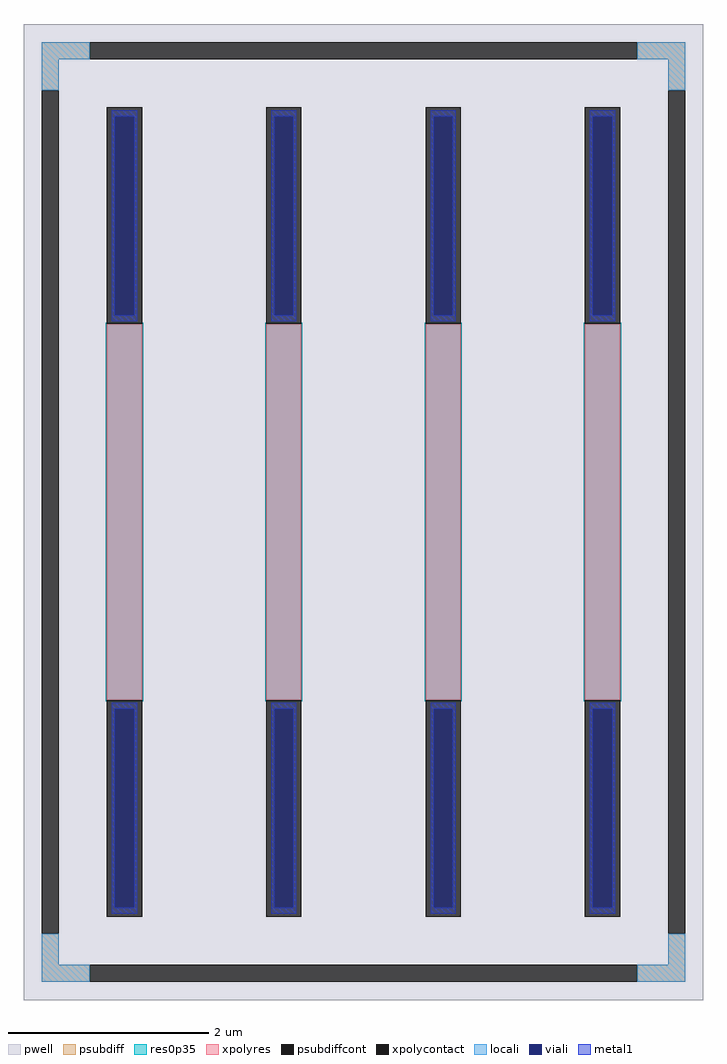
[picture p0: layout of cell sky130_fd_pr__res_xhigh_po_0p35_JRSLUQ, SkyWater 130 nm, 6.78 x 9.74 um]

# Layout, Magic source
magic
tech sky130A
magscale 1 2
<< pwell >>
rect -678 -974 678 974
<< psubdiff >>
rect -642 904 -546 938
rect 546 904 642 938
rect -642 842 -608 904
rect 608 842 642 904
rect -642 -904 -608 -842
rect 608 -904 642 -842
rect -642 -938 -546 -904
rect 546 -938 642 -904
<< psubdiffcont >>
rect -546 904 546 938
rect -642 -842 -608 842
rect 608 -842 642 842
rect -546 -938 546 -904
<< xpolycontact >>
rect -512 376 -442 808
rect -512 -808 -442 -376
rect -194 376 -124 808
rect -194 -808 -124 -376
rect 124 376 194 808
rect 124 -808 194 -376
rect 442 376 512 808
rect 442 -808 512 -376
<< xpolyres >>
rect -512 -376 -442 376
rect -194 -376 -124 376
rect 124 -376 194 376
rect 442 -376 512 376
<< locali >>
rect -642 904 -546 938
rect 546 904 642 938
rect -642 842 -608 904
rect 608 842 642 904
rect -642 -904 -608 -842
rect 608 -904 642 -842
rect -642 -938 -546 -904
rect 546 -938 642 -904
<< viali >>
rect -496 393 -458 790
rect -178 393 -140 790
rect 140 393 178 790
rect 458 393 496 790
rect -496 -790 -458 -393
rect -178 -790 -140 -393
rect 140 -790 178 -393
rect 458 -790 496 -393
<< metal1 >>
rect -502 790 -452 802
rect -502 393 -496 790
rect -458 393 -452 790
rect -502 381 -452 393
rect -184 790 -134 802
rect -184 393 -178 790
rect -140 393 -134 790
rect -184 381 -134 393
rect 134 790 184 802
rect 134 393 140 790
rect 178 393 184 790
rect 134 381 184 393
rect 452 790 502 802
rect 452 393 458 790
rect 496 393 502 790
rect 452 381 502 393
rect -502 -393 -452 -381
rect -502 -790 -496 -393
rect -458 -790 -452 -393
rect -502 -802 -452 -790
rect -184 -393 -134 -381
rect -184 -790 -178 -393
rect -140 -790 -134 -393
rect -184 -802 -134 -790
rect 134 -393 184 -381
rect 134 -790 140 -393
rect 178 -790 184 -393
rect 134 -802 184 -790
rect 452 -393 502 -381
rect 452 -790 458 -393
rect 496 -790 502 -393
rect 452 -802 502 -790
<< res0p35 >>
rect -514 -378 -440 378
rect -196 -378 -122 378
rect 122 -378 196 378
rect 440 -378 514 378
<< properties >>
string gencell sky130_fd_pr__res_xhigh_po_0p35
string FIXED_BBOX -625 -921 625 921
string parameters w 0.350 l 3.763 m 1 nx 4 wmin 0.350 lmin 0.50 rho 2000 val 22.188k dummy 0 dw 0.0 term 120 sterm 0.0 caplen 0 wmax 0.350 guard 1 glc 1 grc 1 gtc 1 gbc 1 compatible {sky130_fd_pr__res_xhigh_po_0p35  sky130_fd_pr__res_xhigh_po_0p69 sky130_fd_pr__res_xhigh_po_1p41  sky130_fd_pr__res_xhigh_po_2p85 sky130_fd_pr__res_xhigh_po_5p73} full_metal 1 vias 1 viagb 0 viagt 0 viagl 0 viagr 0
string library sky130
<< end >>
